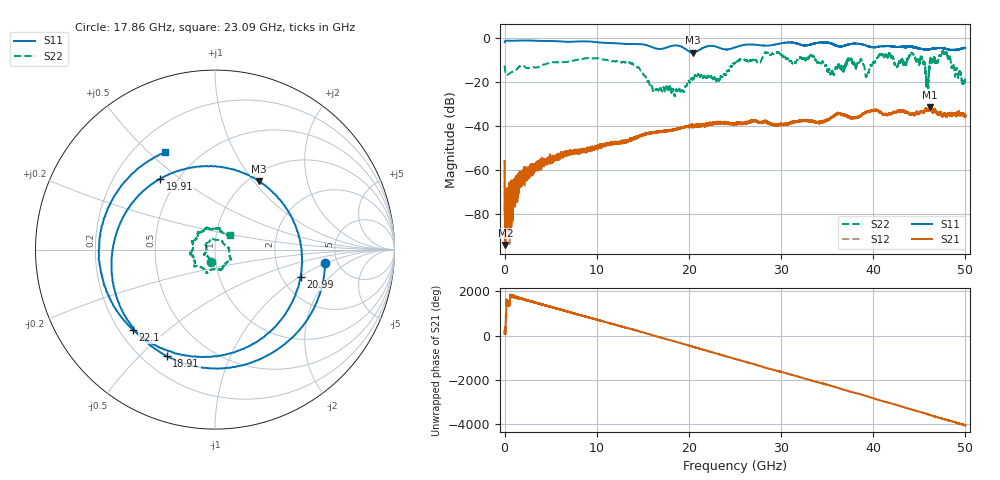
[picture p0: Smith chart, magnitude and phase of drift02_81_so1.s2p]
!Created with skrf (http://scikit-rf.org).
# Hz S RI R 50.0
!freq ReS11 ImS11 ReS21 ImS21 ReS12 ImS12 ReS22 ImS22
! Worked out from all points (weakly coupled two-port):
!   10001 points, 300 kHz to 50 GHz, reference 50 ohm
!   highest |S21| = -31.55 dB at 46.19 GHz (marker M1); lowest = -94.2 dB at 85.3 MHz (marker M2)
!   lowest |S11| = -6.9 dB at 20.42 GHz (marker M3), VSWR 2.65, Z = 55.6 + j53.1 ohm
!   |S11| at or under -10 dB: nowhere
!   |S22| runs from -26.7 to -6.0 dB; largest |S21 - S12| = 0.0031
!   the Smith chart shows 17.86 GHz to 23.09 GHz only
!   S11 on the Smith chart (normalised r, x): 17.86 GHz: 3.99, -1.00; 18.91 GHz: 0.29, -0.61; 19.91 GHz: 0.40, +0.43; 20.99 GHz: 2.52, -1.04; 22.1 GHz: 0.25, -0.38; 23.09 GHz: 0.33, +0.56
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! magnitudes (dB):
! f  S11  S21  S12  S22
! 300 kHz  -2.1  -56.0  -60.5  -12.7
! 85.3 MHz  -1.5  -94.2  -74.8  -16.0
! 265.3 MHz  -1.4  -72.2  -75.3  -17.0
! 2.995 GHz  -1.4  -61.6  -61.8  -13.5
! 8.335 GHz  -1.7  -51.6  -52.3  -9.7
! 13.71 GHz  -2.9  -46.1  -46.6  -11.7
! 16.67 GHz  -5.2  -42.9  -42.9  -23.7
! 17.86 GHz  -4.2  -42.3  -42.1  -22.8
! 18.91 GHz  -3.7  -41.4  -41.2  -23.7
! 19.91 GHz  -6.0  -40.4  -40.4  -19.8
! 20.42 GHz  -6.9  -39.8  -40.6  -19.2
! 20.99 GHz  -6.0  -39.8  -40.2  -16.7
! 22.1 GHz  -3.9  -39.3  -39.9  -17.4
! 23.09 GHz  -4.3  -38.5  -39.0  -18.7
! 25 GHz  -4.5  -38.9  -39.2  -11.6
! 33.34 GHz  -3.0  -38.0  -38.0  -8.4
! 39.33 GHz  -3.8  -33.6  -33.8  -16.7
! 41.67 GHz  -3.9  -34.5  -34.7  -7.7
! 45.87 GHz  -5.3  -33.4  -33.3  -19.4
! 46.19 GHz  -5.3  -31.6  -31.7  -9.6
! 47.75 GHz  -5.0  -34.9  -34.7  -6.9
! 50 GHz  -4.8  -35.7  -36.0  -18.7
